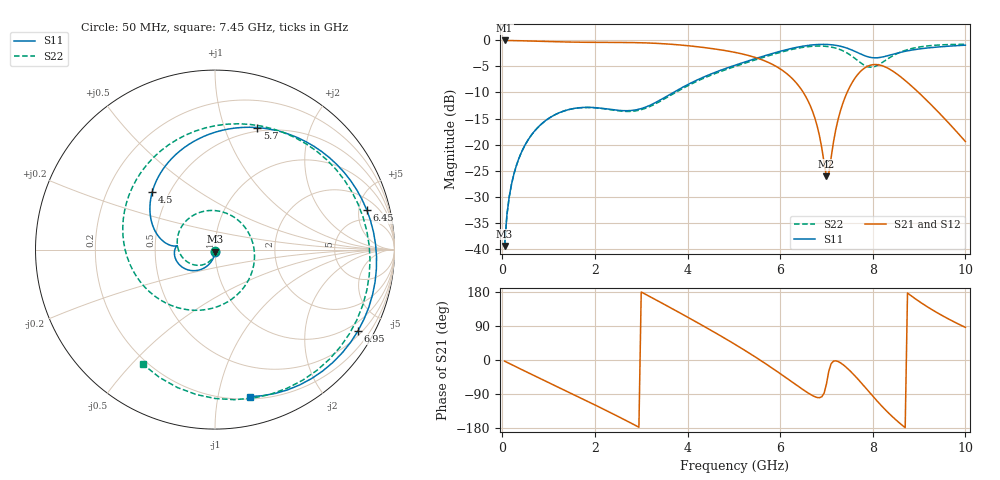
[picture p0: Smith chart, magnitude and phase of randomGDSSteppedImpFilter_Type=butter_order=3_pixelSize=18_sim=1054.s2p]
! freq	dB(S11)	phase(S11)	dB(S12)	phase(S12)
!  dB(S21)	phase(S21)	dB(S22)	phase(S22)
!S-par simulation data
#  GHz  S  DB  R 50
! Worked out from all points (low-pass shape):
!   200 points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, 50 MHz to 10 GHz, reference 50 ohm
!   highest |S21| = -0.01 dB at 50 MHz (marker M1); lowest = -26.1 dB at 7 GHz (marker M2)
!   |S21| within 3 dB of the highest: start of sweep to 5.362 GHz
!   lowest |S11| = -39.5 dB at 50 MHz (marker M3), VSWR 1.02, Z = 50 - j1.06 ohm
!   |S11| at or under -10 dB: start of sweep to 3.692 GHz
!   |S22| runs from -39.5 to -0.8 dB; largest |S21 - S12| = 0
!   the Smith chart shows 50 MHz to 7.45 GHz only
!   S11 on the Smith chart (normalised r, x): 50 MHz: 1.00, -0.02; 4.5 GHz: 0.40, +0.33; 5.7 GHz: 0.46, +1.30; 6.45 GHz: 3.25, +6.08; 6.95 GHz: 0.65, -3.67; 7.45 GHz: 0.22, -1.24
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0.05  -39.46 -91.9  -0.01 -3.0  -0.01 -3.0  -39.51 -93.0
0.2  -27.57 -99.9  -0.03 -12.1  -0.03 -12.1  -27.58 -103.8
0.5  -19.95 -115.4  -0.08 -30.1  -0.08 -30.1  -19.96 -125.6
1.15  -14.21 -146.0  -0.25 -68.5  -0.25 -68.5  -14.22 -172.2
1.75  -12.87 -169.5  -0.36 -103.7  -0.36 -103.7  -12.90 140.9
2.65  -13.50 173.9  -0.40 -158.3  -0.40 -158.3  -13.63 48.8
3.4  -11.49 173.4  -0.60 153.3  -0.60 153.3  -11.74 -47.9
3.95  -8.73 160.0  -0.97 116.5  -0.97 116.5  -8.97 -108.1
4.5  -6.47 137.4  -1.53 78.8  -1.53 78.8  -6.70 -161.0
5.05  -4.69 109.7  -2.34 39.4  -2.34 39.4  -4.92 147.6
5.7  -2.86 70.8  -4.05 -10.9  -4.05 -10.9  -3.07 84.6
6.45  -1.17 14.6  -9.32 -74.5  -9.32 -74.5  -1.39 7.0
6.7  -0.86 -6.9  -13.63 -94.0  -13.63 -94.0  -1.12 -20.5
6.95  -0.76 -29.7  -23.57 -87.2  -23.57 -87.2  -1.11 -49.9
7  -0.77 -34.3  -26.11 -63.2  -26.11 -63.2  -1.15 -56.1
7.45  -1.50 -76.7  -9.91 -21.8  -9.91 -21.8  -2.44 -122.1
7.7  -2.45 -97.8  -6.28 -53.2  -6.28 -53.2  -4.04 -173.2
8  -3.32 -116.9  -4.66 -95.3  -4.66 -95.3  -5.11 108.3
8.35  -2.87 -139.5  -5.45 -141.0  -5.45 -141.0  -3.39 31.4
8.65  -2.19 -164.4  -7.33 -173.6  -7.33 -173.6  -2.07 -10.2
9.1  -1.53 155.2  -10.94 146.5  -10.94 146.5  -1.14 -50.9
10  -0.91 81.5  -19.42 86.2  -19.42 86.2  -0.75 -102.3
